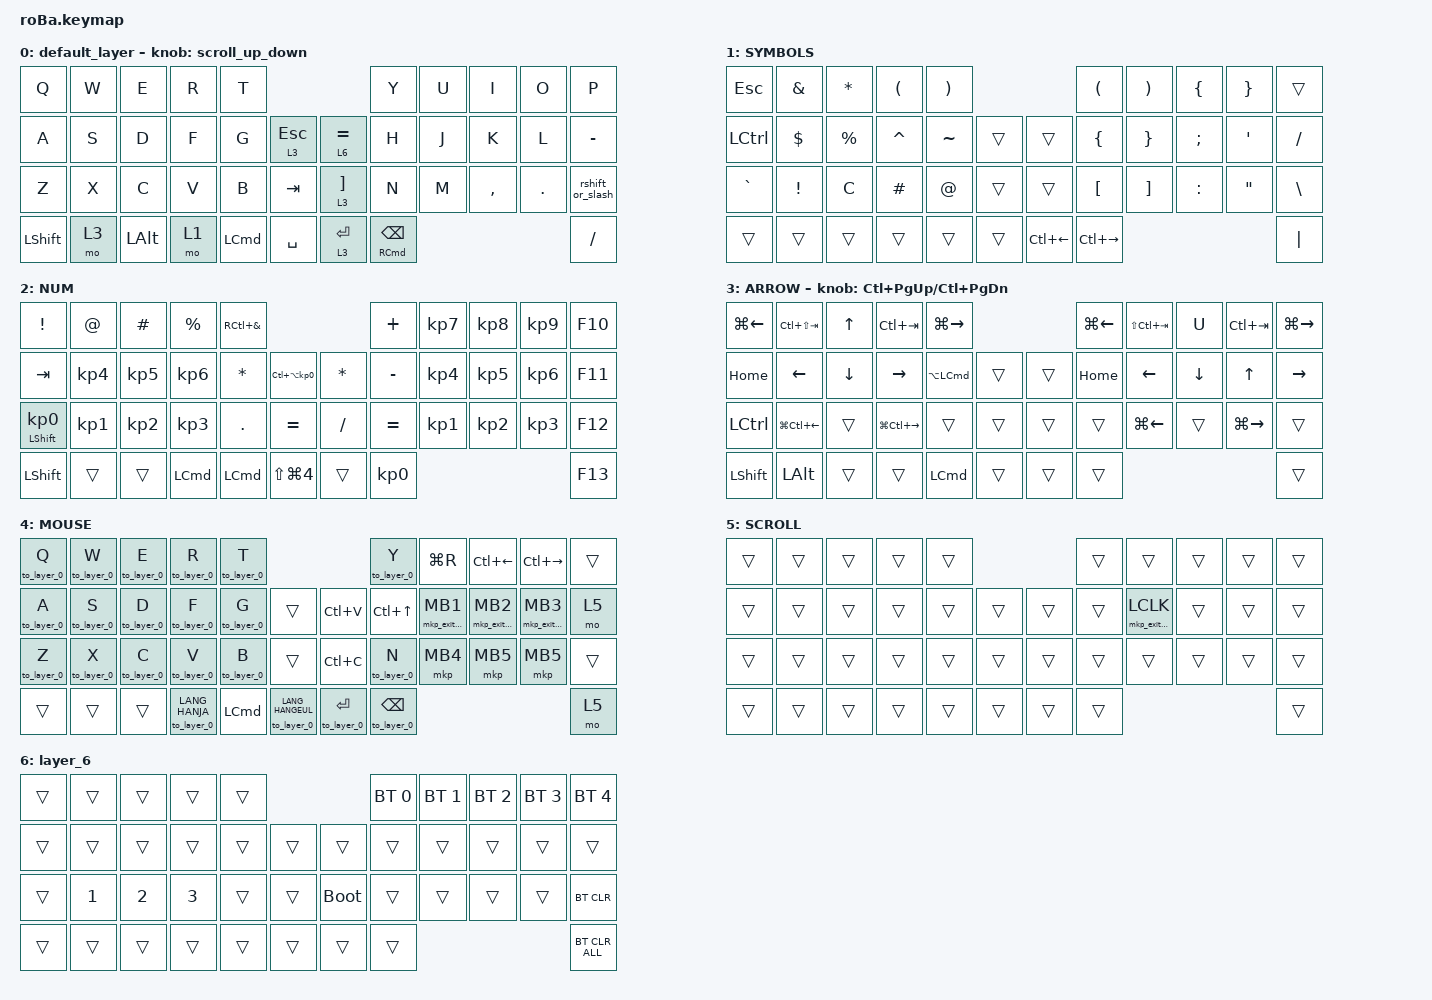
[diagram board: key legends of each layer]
#include <dt-bindings/zmk/modifiers.h>
#include <behaviors.dtsi>
#include <dt-bindings/zmk/bt.h>
#include <dt-bindings/zmk/keys.h>
#include <dt-bindings/zmk/pointing.h>

#define ZMK_POINTING_DEFAULT_SCRL_VAL 100

&mt {
    flavor = "hold-preferred";
    quick-tap-ms = <0>;
};

&sl { release-after-ms = <250>; };

/ {
    combos {
        compatible = "zmk,combos";

        BT0 {
            bindings = <&bt BT_SEL 0>;
            key-positions = <28>;

            // layersを明示(全レイヤー=省略時と同じ)。keymap-drawerが単一キーコンボを
            // 描画する際にlayers未指定だと落ちるためのワークアラウンド。

            layers = <0 1 2 3 4 5 6>;
        };

        BT1 {
            bindings = <&bt BT_SEL 1>;
            key-positions = <28 23>;
        };

        BT2 {
            bindings = <&bt BT_SEL 2>;
            key-positions = <28 24>;
        };

        BT3 {
            bindings = <&none>;
            key-positions = <28 25>;
        };
    };

    macros {
        to_layer_0: to_layer_0 {
            compatible = "zmk,behavior-macro-one-param";
            #binding-cells = <1>;
            bindings = <&to 0 &macro_param_1to1 &kp MACRO_PLACEHOLDER>;
            label = "TO_LAYER_0";
        };

        mkp_exit_AML: mkp_exit_AML {
            compatible = "zmk,behavior-macro-one-param";
            #binding-cells = <1>;
            bindings =
                <&macro_press>,
                <&macro_param_1to1 &mkp MACRO_PLACEHOLDER>,
                <&macro_pause_for_release>,
                <&macro_release>,
                <&macro_param_1to1 &mkp MACRO_PLACEHOLDER>,
                <&macro_tap>,
                <&sl 4>;

            label = "MKP_EXIT_AML";
        };

        parenthesis: parenthesis {
            compatible = "zmk,behavior-macro";
            #binding-cells = <0>;
            bindings = <&kp LANG_HANJA &kp LEFT_PARENTHESIS &kp RIGHT_PARENTHESIS &kp LEFT_ARROW>;
            label = "parenthesis";
        };
    };

    behaviors {
        scroll_up_down: behavior_sensor_rotate_mouse_wheel_up_down {
            compatible = "zmk,behavior-sensor-rotate";
            #sensor-binding-cells = <0>;
            bindings = <&msc SCRL_DOWN>, <&msc SCRL_UP>;

            // 追加: スクロールのタップ時間を設定 (20ms)

            tap-ms = <20>;
        };

        multi_tap_tab_bspc: behavior_multi_tap {
            label = "MT_TAB_BSPC";
            #binding-cells = <0>;
            bindings = <&kp TAB>, <&kp BSPC>;

            max-taps = <2>;
            max-tap-interrupt-ms = <250>;
        };

        // Command(GUI)を押しながらのときだけTabを送る。通常時はA。

        a_or_tab: a_or_tab {
            compatible = "zmk,behavior-mod-morph";
            #binding-cells = <0>;
            bindings = <&kp A>, <&kp TAB>;

            mods = <(MOD_LGUI|MOD_RGUI)>;
        };

        // 左Shiftを押しながらのときだけ?を送る。通常時はlt 2 RIGHT_SHIFT。

        rshift_or_slash: rshift_or_slash {
            compatible = "zmk,behavior-mod-morph";
            #binding-cells = <0>;
            bindings = <&lt 2 RIGHT_SHIFT>, <&kp QUESTION>;

            mods = <(MOD_LSFT)>;
        };
    };

    keymap {
        compatible = "zmk,keymap";

        default_layer {
            bindings = <
&kp Q           &kp W  &kp E         &kp R  &kp T                                                 &kp Y                        &kp U  &kp I      &kp O    &kp P
&kp A           &kp S  &kp D         &kp F  &kp G             &lt 3 ESC      &lt 6 EQUAL          &kp H                        &kp J  &kp K      &kp L    &kp MINUS
&kp Z           &kp X  &kp C         &kp V  &kp B             &kp TAB        &lt 3 RIGHT_BRACKET  &kp N                        &kp M  &kp COMMA  &kp DOT  &rshift_or_slash
&kp LEFT_SHIFT  &mo 3  &kp LEFT_ALT  &mo 1  &kp LEFT_COMMAND  &kp SPACE      &lt 3 ENTER          &mt RIGHT_COMMAND BACKSPACE                             &kp SLASH
            >;

            sensor-bindings = <&scroll_up_down>;
        };

        SYMBOLS {
            bindings = <
&kp ESCAPE  &kp AMPERSAND    &kp ASTERISK  &kp LEFT_PARENTHESIS  &kp RIGHT_PARENTHESIS                                  &kp LEFT_PARENTHESIS  &kp RIGHT_PARENTHESIS  &kp LEFT_BRACE  &kp RIGHT_BRACE    &trans
&kp LCTRL   &kp DOLLAR       &kp PERCENT   &kp CARET             &kp TILDE              &trans      &trans              &kp LEFT_BRACE        &kp RIGHT_BRACE        &kp SEMICOLON   &kp SINGLE_QUOTE   &kp SLASH
&kp GRAVE   &kp EXCLAMATION  &kp C         &kp HASH              &kp AT_SIGN            &trans      &trans              &kp LEFT_BRACKET      &kp RIGHT_BRACKET      &kp COLON       &kp DOUBLE_QUOTES  &kp BACKSLASH
&trans      &trans           &trans        &trans                &trans                 &trans      &kp LC(LEFT_ARROW)  &kp LC(RIGHT_ARROW)                                                             &kp PIPE
            >;
        };

        NUM {
            bindings = <
&kp EXCLAMATION             &kp AT_SIGN      &kp HASH         &kp PERCENT       &kp RC(AMPERSAND)                                             &kp PLUS   &kp KP_N7  &kp KP_N8  &kp KP_N9  &kp F10
&kp TAB                     &kp KP_NUMBER_4  &kp KP_NUMBER_5  &kp KP_NUMBER_6   &kp ASTERISK       &kp LC(LA(KP_NUMBER_0))      &kp ASTERISK  &kp MINUS  &kp KP_N4  &kp KP_N5  &kp KP_N6  &kp F11
&mt LEFT_SHIFT KP_NUMBER_0  &kp KP_NUMBER_1  &kp KP_NUMBER_2  &kp KP_NUMBER_3   &kp PERIOD         &kp EQUAL                    &kp SLASH     &kp EQUAL  &kp KP_N1  &kp KP_N2  &kp KP_N3  &kp F12
&kp LEFT_SHIFT              &trans           &trans           &kp LEFT_COMMAND  &kp LEFT_COMMAND   &kp LS(LG(NUMBER_4))         &trans        &kp KP_N0                                   &kp F13
            >;
        };

        ARROW {
            bindings = <
&kp LG(LEFT_ARROW)  &kp LC(LS(TAB))         &kp UP_ARROW    &kp LC(TAB)              &kp LG(RIGHT_ARROW)                       &kp LG(LEFT_ARROW)  &kp LS(LC(TAB))     &kp U           &kp LC(TAB)          &kp LG(RIGHT_ARROW)
&kp HOME            &kp LEFT_ARROW          &kp DOWN_ARROW  &kp RIGHT_ARROW          &kp LA(LEFT_COMMAND)  &trans      &trans  &kp HOME            &kp LEFT_ARROW      &kp DOWN_ARROW  &kp UP_ARROW         &kp RIGHT_ARROW
&kp LCTRL           &kp LG(LC(LEFT_ARROW))  &trans          &kp LG(LC(RIGHT_ARROW))  &trans                &trans      &trans  &trans              &kp LG(LEFT_ARROW)  &trans          &kp LG(RIGHT_ARROW)  &trans
&kp LEFT_SHIFT      &kp LEFT_ALT            &trans          &trans                   &kp LEFT_COMMAND      &trans      &trans  &trans                                                                       &trans
            >;

            sensor-bindings = <&inc_dec_kp LC(PAGE_UP) LC(PAGE_DOWN)>;
        };

        MOUSE {
            bindings = <
&to_layer_0 Q  &to_layer_0 W  &to_layer_0 E  &to_layer_0 R           &to_layer_0 T                                                      &to_layer_0 Y          &kp LG(R)          &kp LC(LEFT_ARROW)  &kp LC(RIGHT)      &trans
&to_layer_0 A  &to_layer_0 S  &to_layer_0 D  &to_layer_0 F           &to_layer_0 G     &trans                        &kp LC(V)          &kp LC(UP_ARROW)       &mkp_exit_AML MB1  &mkp_exit_AML MB2   &mkp_exit_AML MB3  &mo 5
&to_layer_0 Z  &to_layer_0 X  &to_layer_0 C  &to_layer_0 V           &to_layer_0 B     &trans                        &kp LC(C)          &to_layer_0 N          &mkp MB4           &mkp MB5            &mkp MB5           &trans
&trans         &trans         &trans         &to_layer_0 LANG_HANJA  &kp LEFT_COMMAND  &to_layer_0 LANG_HANGEUL      &to_layer_0 ENTER  &to_layer_0 BACKSPACE                                                            &mo 5
            >;
        };

        SCROLL {
            bindings = <
&trans  &trans  &trans  &trans  &trans                      &trans  &trans              &trans  &trans  &trans
&trans  &trans  &trans  &trans  &trans  &trans      &trans  &trans  &mkp_exit_AML LCLK  &trans  &trans  &trans
&trans  &trans  &trans  &trans  &trans  &trans      &trans  &trans  &trans              &trans  &trans  &trans
&trans  &trans  &trans  &trans  &trans  &trans      &trans  &trans                                      &trans
            >;
        };

        layer_6 {
            bindings = <
&trans  &trans        &trans        &trans        &trans                           &bt BT_SEL 0  &bt BT_SEL 1  &bt BT_SEL 2  &bt BT_SEL 3  &bt BT_SEL 4
&trans  &trans        &trans        &trans        &trans  &trans      &trans       &trans        &trans        &trans        &trans        &trans
&trans  &kp NUMBER_1  &kp NUMBER_2  &kp NUMBER_3  &trans  &trans      &bootloader  &trans        &trans        &trans        &trans        &bt BT_CLR
&trans  &trans        &trans        &trans        &trans  &trans      &trans       &trans                                                  &bt BT_CLR_ALL
            >;
        };
    };
};
